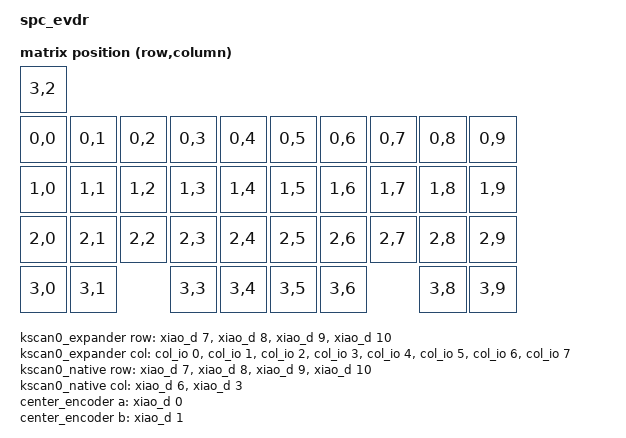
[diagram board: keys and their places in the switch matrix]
/*
 * Copyright (c) 2022 @weteor
 *
 * SPDX-License-Identifier: MIT
 */

#include <dt-bindings/zmk/matrix_transform.h>
#include "spc_evdr-layouts.dtsi"

/ {
    model = "spc_evdr";
    compatible = "weteor,spc_evdr";

    chosen {
		zephyr,display = &oled;
		zmk,kscan = &kscan0;
	};

	default_transform: keymap_transform_0 {
		compatible = "zmk,matrix-transform";
		rows = <4>;
		columns = <10>;
		map = <
		RC(3,2)
		RC(0,0) RC(0,1) RC(0,2) RC(0,3) RC(0,4)   RC(0,5) RC(0,6) RC(0,7) RC(0,8) RC(0,9)
		RC(1,0) RC(1,1) RC(1,2) RC(1,3) RC(1,4)   RC(1,5) RC(1,6) RC(1,7) RC(1,8) RC(1,9)
		RC(2,0) RC(2,1) RC(2,2) RC(2,3) RC(2,4)   RC(2,5) RC(2,6) RC(2,7) RC(2,8) RC(2,9)
		RC(3,0) RC(3,1)         RC(3,3) RC(3,4)   RC(3,5) RC(3,6)         RC(3,8) RC(3,9)
		>;
	};

	kscan0: kscan {
		compatible = "zmk,kscan-composite";
		label = "KSCAN";
		rows = <4>;
		columns = <10>;

		expander {
			kscan = <&kscan0_expander>;
			row-offset = <0>;
			col-offset = <0>;
		};

		native {
			kscan = <&kscan0_native>;
			row-offset = <0>;
			col-offset = <8>;
		};
	};

	// Columns 0-7 live on the PCA9555 I2C GPIO expander; columns 8-9 are
	// native XIAO GPIO pins. Scanning them as one zmk,kscan-gpio-matrix
	// mixed the slow I2C-backed columns with fast native ones, which was
	// corrupting reads on column 8 (O / L / .). Splitting into two
	// homogeneous matrices combined via zmk,kscan-composite (the pattern
	// ZMK itself uses for boards with I2C GPIO expanders, e.g. the Ferris
	// rev02's MCP23017 half) keeps each scan loop's timing consistent.
	kscan0_expander: kscan_expander {
		compatible = "zmk,kscan-gpio-matrix";
		label = "KSCAN_EXPANDER";

		diode-direction = "col2row";
		col-gpios
			= <&col_io 0 GPIO_ACTIVE_HIGH>
			, <&col_io 1 GPIO_ACTIVE_HIGH>
			, <&col_io 2 GPIO_ACTIVE_HIGH>
			, <&col_io 3 GPIO_ACTIVE_HIGH>
			, <&col_io 4 GPIO_ACTIVE_HIGH>
			, <&col_io 5 GPIO_ACTIVE_HIGH>
			, <&col_io 6 GPIO_ACTIVE_HIGH>
			, <&col_io 7 GPIO_ACTIVE_HIGH>
			;
		row-gpios
			= <&xiao_d 7 (GPIO_ACTIVE_HIGH | GPIO_PULL_DOWN)>
			, <&xiao_d 8 (GPIO_ACTIVE_HIGH | GPIO_PULL_DOWN)>
			, <&xiao_d 9 (GPIO_ACTIVE_HIGH | GPIO_PULL_DOWN)>
			, <&xiao_d 10 (GPIO_ACTIVE_HIGH | GPIO_PULL_DOWN)>
			;
	};

	kscan0_native: kscan_native {
		compatible = "zmk,kscan-gpio-matrix";
		label = "KSCAN_NATIVE";

		diode-direction = "col2row";
		col-gpios
			= <&xiao_d 6 GPIO_ACTIVE_HIGH>
			, <&xiao_d 3 GPIO_ACTIVE_HIGH>
			;
		row-gpios
			= <&xiao_d 7 (GPIO_ACTIVE_HIGH | GPIO_PULL_DOWN)>
			, <&xiao_d 8 (GPIO_ACTIVE_HIGH | GPIO_PULL_DOWN)>
			, <&xiao_d 9 (GPIO_ACTIVE_HIGH | GPIO_PULL_DOWN)>
			, <&xiao_d 10 (GPIO_ACTIVE_HIGH | GPIO_PULL_DOWN)>
			;
	};

	center_encoder: encoder_center {
		compatible = "alps,ec11";
		label = "CENTER_ENCODER";
		a-gpios = <&xiao_d 0 (GPIO_ACTIVE_HIGH | GPIO_PULL_UP)>;
		b-gpios = <&xiao_d 1 (GPIO_ACTIVE_HIGH | GPIO_PULL_UP)>;
		resolution = <2>;
		status = "okay";
	};

	sensors: sensors {
		compatible = "zmk,keymap-sensors";
		status = "okay";
        sensors = <&center_encoder>;
	};

};

&xiao_i2c {
	status = "okay";
	clock-frequency = <I2C_BITRATE_FAST>;
	
	oled: ssd1306@3c {
		compatible = "solomon,ssd1306fb";
		reg = <0x3c>;
		label = "DISPLAY";
		width = <128>;
		height = <32>;
		segment-offset = <0>;
		page-offset = <0>;
		display-offset = <0>;
		multiplex-ratio = <31>;
		segment-remap;
		com-invdir;
		com-sequential;
		prechargep = <0x22>;
		inversion-on;
	};
	
	col_io: pca95xx@20 {
	    compatible = "nxp,pca95xx";
	    status = "okay";
	    gpio-controller;
	    reg = <0x20>;
	    label = "PCA9555";
	    #gpio-cells = <2>;
	    ngpios = <8>;
	};
};
